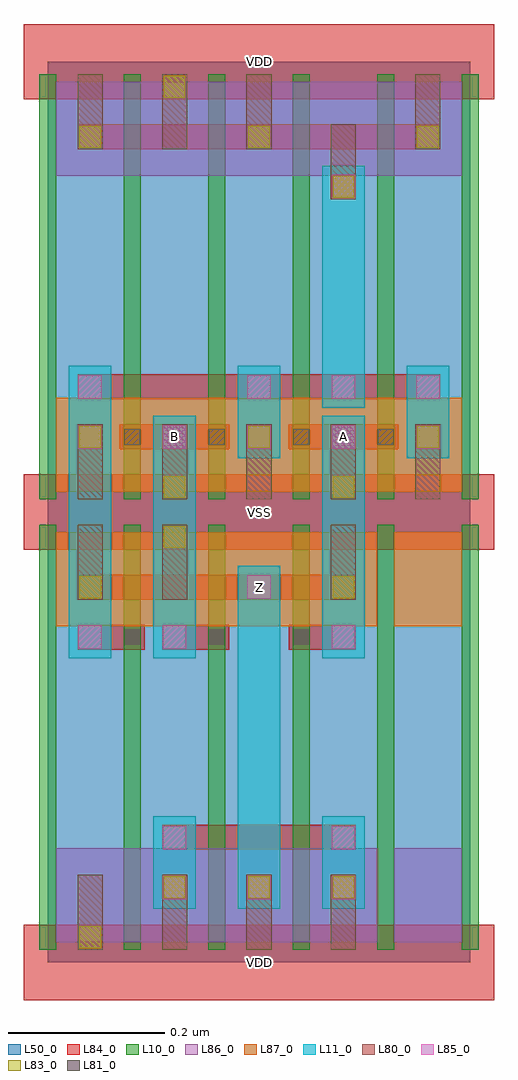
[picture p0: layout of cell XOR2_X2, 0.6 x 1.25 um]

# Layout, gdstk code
import gdstk
lib = gdstk.Library(unit=1e-6, precision=1e-09)
def R(c, l, rs):  # rectangles x0, y0, x1, y1
    for r in rs: c.add(gdstk.rectangle(r[:2], r[2:], *l))
def A(c, l, x, y, w, h, nx, ny, dx, dy):  # array of equal rectangles
    R(c, l, [(x+i*dx, y+j*dy, x+i*dx+w, y+j*dy+h) for i in range(nx) for j in range(ny)])
L10_0 = (10, 0)
L11_0 = (11, 0)
L50_0 = (50, 0)
L80_0 = (80, 0)
L81_0 = (81, 0)
L83_0 = (83, 0)
L84_0 = (84, 0)
L85_0 = (85, 0)
L86_0 = (86, 0)
L87_0 = (87, 0)

xor2_x2 = lib.new_cell('XOR2_X2')
A(xor2_x2, L10_0, -0.011, 0.016, 0.022, 0.544, 6, 2, 0.108, 0.576)
R(xor2_x2, L11_0, [(0.135,0.069,0.189,0.187), (0.243,0.069,0.297,0.507), (0.351,0.069,0.405,0.187), (0.027,0.389,0.081,0.763), (0.135,0.389,0.189,0.699), (0.351,0.389,0.405,0.699), (0.243,0.645,0.297,0.763), (0.459,0.645,0.513,0.763), (0.351,0.709,0.405,1.019)])
R(xor2_x2, L50_0, [(0,0,0.54,1.152)])
A(xor2_x2, L80_0, 0.038, 0.016, 0.032, 0.096, 4, 1, 0.108, 0)
A(xor2_x2, L80_0, 0.038, 0.592, 0.032, 0.096, 5, 1, 0.108, 0)
A(xor2_x2, L80_0, 0.038, 1.04, 0.032, 0.096, 3, 1, 0.108, 0)
R(xor2_x2, L80_0, [(0.038,0.464,0.07,0.56), (0.146,0.464,0.178,0.56), (0.362,0.464,0.394,0.56), (0.362,0.976,0.394,1.072), (0.47,1.04,0.502,1.136)])
A(xor2_x2, L81_0, 0.098, 0.406, 0.02, 0.02, 3, 1, 0.108, 0)
A(xor2_x2, L81_0, 0.098, 0.662, 0.02, 0.02, 4, 1, 0.108, 0)
A(xor2_x2, L83_0, 0.148, 0.082, 0.028, 0.028, 3, 1, 0.108, 0)
A(xor2_x2, L83_0, 0.04, 0.658, 0.028, 0.028, 3, 2, 0.216, 0.384)
R(xor2_x2, L83_0, [(0.04,0.018,0.068,0.046), (0.04,0.466,0.068,0.494), (0.364,0.466,0.392,0.494), (0.148,0.53,0.176,0.558), (0.148,0.594,0.176,0.622), (0.364,0.594,0.392,0.622), (0.364,0.978,0.392,1.006), (0.148,1.106,0.176,1.134)])
A(xor2_x2, L84_0, -0.031, -0.048, 0.602, 0.096, 1, 3, 0, 0.576)
A(xor2_x2, L84_0, 0.146, 0.08, 0.032, 0.032, 3, 1, 0.108, 0)
A(xor2_x2, L84_0, 0.038, 0.656, 0.032, 0.032, 3, 1, 0.216, 0)
R(xor2_x2, L84_0, [(0.146,0.144,0.394,0.176), (0.038,0.4,0.124,0.432), (0.146,0.4,0.232,0.432), (0.308,0.4,0.394,0.432), (0.038,0.464,0.394,0.496), (0.092,0.656,0.232,0.688), (0.308,0.656,0.448,0.688), (0.038,0.72,0.502,0.752), (0.362,0.976,0.394,1.008), (0.038,1.04,0.502,1.072)])
A(xor2_x2, L85_0, 0.147, 0.081, 0.03, 0.03, 3, 1, 0.108, 0)
A(xor2_x2, L85_0, 0.039, 0.657, 0.03, 0.03, 5, 1, 0.108, 0)
A(xor2_x2, L85_0, 0.255, 0.721, 0.03, 0.03, 3, 1, 0.108, 0)
R(xor2_x2, L85_0, [(0.147,0.145,0.177,0.175), (0.363,0.145,0.393,0.175), (0.039,0.401,0.069,0.431), (0.147,0.401,0.177,0.431), (0.363,0.401,0.393,0.431), (0.255,0.465,0.285,0.495), (0.039,0.721,0.069,0.751), (0.363,0.977,0.393,1.007)])
R(xor2_x2, L86_0, [(0.011,0.026,0.421,0.146), (0.443,0.026,0.529,0.146), (0.011,1.006,0.529,1.126)])
R(xor2_x2, L87_0, [(0.011,0.43,0.421,0.55), (0.443,0.43,0.529,0.55), (0.011,0.602,0.529,0.722)])
xor2_x2.add(gdstk.Label('VDD', (0.27,1.152), layer=88, texttype=0))
xor2_x2.add(gdstk.Label('VDD', (0.27,0), layer=88, texttype=0))
xor2_x2.add(gdstk.Label('VSS', (0.27,0.576), layer=88, texttype=0))
xor2_x2.add(gdstk.Label('Z', (0.27,0.48), layer=31, texttype=0))
xor2_x2.add(gdstk.Label('B', (0.162,0.672), layer=31, texttype=0))
xor2_x2.add(gdstk.Label('A', (0.378,0.672), layer=31, texttype=0))

lib.write_gds('XOR2_X2.gds')
